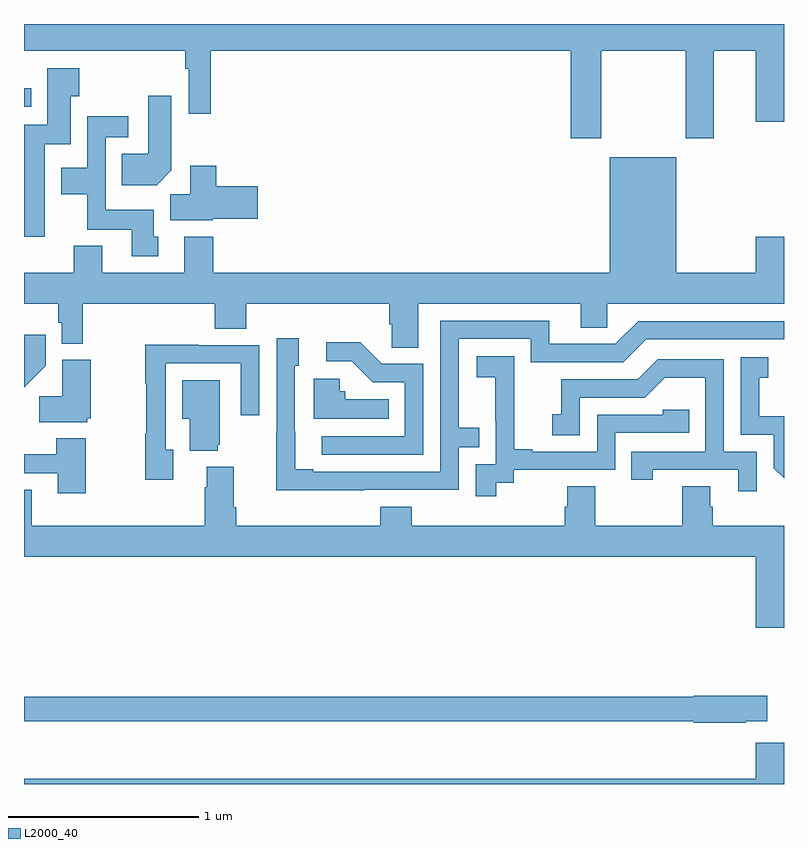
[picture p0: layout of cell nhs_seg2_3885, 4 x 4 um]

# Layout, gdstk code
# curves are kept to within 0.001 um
import gdstk
lib = gdstk.Library(unit=1e-6, precision=1e-09)
def R(c, l, rs):  # rectangles x0, y0, x1, y1
    for r in rs: c.add(gdstk.rectangle(r[:2], r[2:], *l))
def P(c, l, *ps):  # polygons
    for p in ps: c.add(gdstk.Polygon(p, *l))
L2000_40 = (2000, 40)

nhs_seg2_3885 = lib.new_cell('nhs_seg2_3885')
R(nhs_seg2_3885, L2000_40, [(317,623.364,317.038,623.461)])
P(nhs_seg2_3885, L2000_40, [(320.037,623.66),(320.482,623.66),(320.482,623.199),(320.629,623.199),(320.629,623.66),(320.852,623.66),(320.852,623.286),(321,623.286),(321,623.8),(317,623.8),(317,623.66),(317.848,623.66),(317.848,623.564),(317.868,623.564),(317.868,623.328),(317.984,623.328),(317.984,623.66),(319.877,623.66),(319.877,623.199),(320.037,623.199)],
  [(317.11,623.168),(317.245,623.168),(317.245,623.419),(317.292,623.419),(317.292,623.566),(317.123,623.566),(317.123,623.271),(317,623.271),(317,622.68),(317.11,622.68)],
  [(317.776,623.03),(317.776,623.422),(317.654,623.422),(317.654,623.116),(317.515,623.116),(317.515,622.952),(317.698,622.952)],
  [(317.707,622.68),(317.683,622.68),(317.683,622.822),(317.43,622.822),(317.43,623.205),(317.548,623.205),(317.548,623.314),(317.334,623.314),(317.334,623.044),(317.195,623.044),(317.195,622.904),(317.332,622.904),(317.332,622.718),(317.567,622.718),(317.567,622.578),(317.707,622.578)],
  [(319.075,622.328),(319.931,622.328),(319.931,622.201),(320.07,622.201),(320.07,622.328),(321,622.328),(321,622.681),(320.852,622.681),(320.852,622.492),(320.434,622.492),(320.434,623.098),(320.084,623.098),(320.084,622.492),(317.996,622.492),(317.996,622.681),(317.843,622.681),(317.843,622.492),(317.413,622.492),(317.413,622.633),(317.261,622.633),(317.261,622.492),(317,622.492),(317,622.328),(317.179,622.328),(317.179,622.227),(317.199,622.227),(317.199,622.118),(317.308,622.118),(317.308,622.328),(318.005,622.328),(318.005,622.195),(318.17,622.195),(318.17,622.328),(318.923,622.328),(318.923,622.219),(318.936,622.219),(318.936,622.096),(319.075,622.096)],
  [(317.994,622.775),(318.229,622.775),(318.229,622.946),(318.011,622.946),(318.011,623.053),(317.876,623.053),(317.876,622.904),(317.771,622.904),(317.771,622.766),(317.994,622.766)],
  [(318.791,621.348),(319.287,621.348),(319.287,621.573),(319.397,621.573),(319.397,621.674),(319.287,621.674),(319.287,622.143),(319.668,622.143),(319.668,622.02),(320.154,622.02),(320.274,622.14),(321,622.14),(321,622.236),(320.232,622.236),(320.112,622.116),(319.765,622.116),(319.765,622.239),(319.191,622.239),(319.191,621.444),(318.523,621.444),(318.523,621.457),(318.427,621.457),(318.426,622.002),(318.445,622.002),(318.445,622.147),(318.33,622.147),(318.33,621.653),(318.328,621.653),(318.328,621.347)],
  [(317.114,622.002),(317.114,622.165),(317,622.165),(317,621.888)],
  [(319.101,622.011),(318.882,622.011),(318.769,622.124),(318.591,622.124),(318.591,622.026),(318.725,622.026),(318.836,621.915),(319.005,621.915),(319.005,621.63),(318.567,621.63),(318.567,621.534),(319.101,621.534)],
  [(317.785,621.558),(317.745,621.558),(317.745,622.014),(318.141,622.014),(318.141,621.741),(318.237,621.741),(318.237,622.11),(317.921,622.11),(317.921,622.112),(317.637,622.112),(317.637,621.907),(317.644,621.907),(317.644,621.646),(317.637,621.646),(317.637,621.402),(317.785,621.402)],
  [(319.486,621.385),(319.578,621.385),(319.578,621.453),(320.112,621.453),(320.112,621.648),(320.501,621.648),(320.501,621.771),(320.361,621.771),(320.361,621.744),(320.016,621.744),(320.016,621.549),(319.675,621.549),(319.675,621.562),(319.58,621.562),(319.58,621.845),(319.581,621.845),(319.581,622.051),(319.383,622.051),(319.383,621.941),(319.481,621.941),(319.481,621.713),(319.482,621.713),(319.482,621.483),(319.377,621.483),(319.377,621.315),(319.486,621.315)],
  [(321,621.735),(320.869,621.735),(320.869,621.939),(320.918,621.939),(320.918,622.045),(320.772,622.045),(320.772,621.639),(320.946,621.639),(320.946,621.462),(321,621.409)],
  [(320.856,621.549),(320.682,621.549),(320.682,622.035),(320.336,622.035),(320.231,621.93),(319.828,621.93),(319.828,621.745),(319.779,621.745),(319.779,621.636),(319.926,621.636),(319.926,621.834),(320.268,621.834),(320.372,621.938),(320.586,621.938),(320.586,621.549),(320.197,621.549),(320.197,621.402),(320.308,621.402),(320.308,621.453),(320.759,621.453),(320.759,621.342),(320.856,621.342)],
  [(317.334,621.726),(317.35,621.726),(317.35,622.033),(317.201,622.033),(317.201,621.842),(317.08,621.842),(317.08,621.704),(317.334,621.704)],
  [(318.92,621.826),(318.69,621.826),(318.69,621.867),(318.663,621.867),(318.663,621.934),(318.524,621.934),(318.524,621.722),(318.92,621.722)],
  [(318.02,621.585),(318.031,621.585),(318.031,621.925),(317.834,621.925),(317.834,621.722),(317.873,621.722),(317.873,621.554),(318.02,621.554)],
  [(317.325,621.619),(317.17,621.619),(317.17,621.535),(317,621.535),(317,621.435),(317.177,621.435),(317.177,621.33),(317.325,621.33)],
  [(321,621.16),(320.624,621.16),(320.624,621.258),(320.611,621.258),(320.611,621.368),(320.464,621.368),(320.464,621.16),(320.007,621.16),(320.007,621.368),(319.859,621.368),(319.859,621.258),(319.847,621.258),(319.847,621.16),(319.04,621.16),(319.04,621.259),(318.875,621.259),(318.875,621.16),(318.116,621.16),(318.116,621.256),(318.103,621.256),(318.103,621.469),(317.963,621.469),(317.963,621.362),(317.951,621.362),(317.951,621.16),(317.041,621.16),(317.041,621.35),(317,621.35),(317,620.996),(320.852,620.996),(320.852,620.622),(321,620.622)],
  [(320.798,620.129),(320.911,620.129),(320.911,620.264),(320.526,620.264),(320.526,620.258),(317,620.258),(317,620.13),(320.526,620.13),(320.526,620.122),(320.798,620.122)],
  [(321,620.017),(320.852,620.017),(320.852,619.828),(317,619.828),(317,619.8),(321,619.8)])

lib.write_gds('nhs_seg2_3885.gds')
